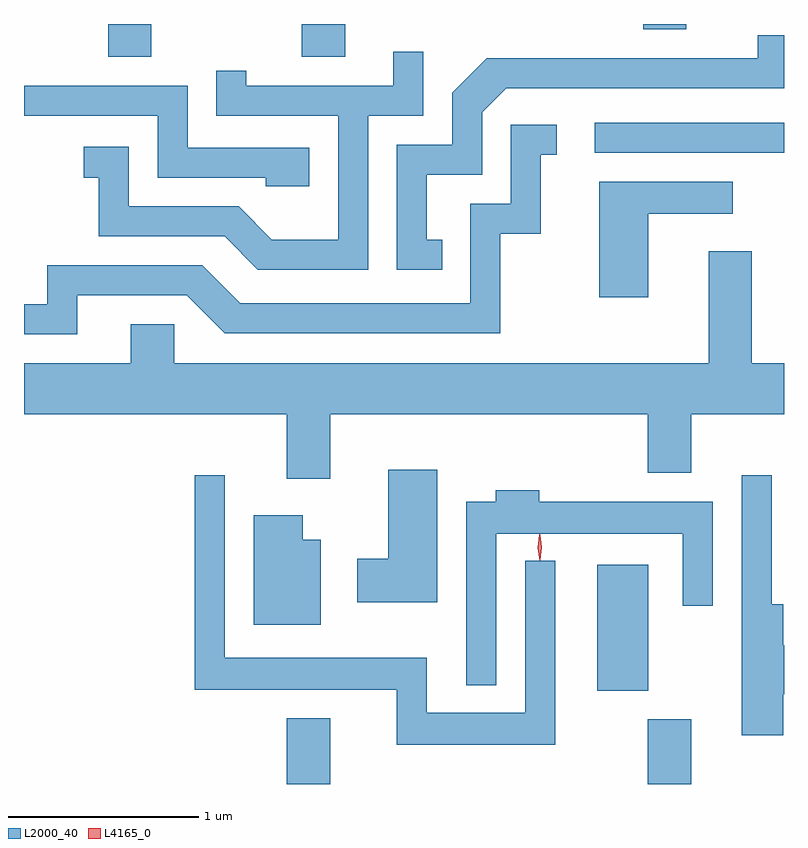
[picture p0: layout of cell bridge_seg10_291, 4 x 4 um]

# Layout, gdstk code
import gdstk
lib = gdstk.Library(unit=1e-6, precision=1e-09)
def R(c, l, rs):  # rectangles x0, y0, x1, y1
    for r in rs: c.add(gdstk.rectangle(r[:2], r[2:], *l))
def P(c, l, *ps):  # polygons
    for p in ps: c.add(gdstk.Polygon(p, *l))
L2000_40 = (2000, 40)
L4165_0 = (4165, 0)

bridge_seg10_291 = lib.new_cell('bridge_seg10_291')
R(bridge_seg10_291, L2000_40, [(1425.741,2158.589,1425.969,2158.934), (1427.641,2158.589,1427.869,2158.929), (1427.376,2159.081,1427.644,2159.744), (1427.363,2161.911,1428.358,2162.069), (1424.801,2162.416,1425.029,2162.589), (1425.821,2162.416,1426.049,2162.589), (1427.616,2162.561,1427.844,2162.589)])
P(bridge_seg10_291, L2000_40, [(1426.558,2161.454),(1426.479,2161.454),(1426.479,2161.796),(1426.769,2161.796),(1426.769,2162.124),(1426.897,2162.251),(1428.358,2162.251),(1428.358,2162.529),(1428.221,2162.529),(1428.221,2162.409),(1426.794,2162.409),(1426.611,2162.227),(1426.611,2161.954),(1426.321,2161.954),(1426.321,2161.296),(1426.558,2161.296)],
  [(1426.169,2162.106),(1426.459,2162.106),(1426.459,2162.443),(1426.301,2162.443),(1426.301,2162.264),(1425.529,2162.264),(1425.529,2162.343),(1425.371,2162.343),(1425.371,2162.106),(1426.011,2162.106),(1426.011,2161.454),(1425.662,2161.454),(1425.487,2161.629),(1424.909,2161.629),(1424.909,2161.944),(1424.673,2161.944),(1424.673,2161.781),(1424.751,2161.781),(1424.751,2161.471),(1425.414,2161.471),(1425.589,2161.296),(1426.169,2161.296)],
  [(1425.859,2161.939),(1425.219,2161.939),(1425.219,2162.264),(1424.358,2162.264),(1424.358,2162.106),(1425.061,2162.106),(1425.061,2161.781),(1425.631,2161.781),(1425.631,2161.736),(1425.859,2161.736)],
  [(1424.639,2161.161),(1425.214,2161.161),(1425.414,2160.961),(1426.864,2160.961),(1426.864,2161.486),(1427.079,2161.486),(1427.079,2161.901),(1427.163,2161.901),(1427.163,2162.059),(1426.921,2162.059),(1426.921,2161.644),(1426.706,2161.644),(1426.706,2161.119),(1425.497,2161.119),(1425.297,2161.319),(1424.481,2161.319),(1424.481,2161.114),(1424.358,2161.114),(1424.358,2160.956),(1424.639,2160.956)],
  [(1427.644,2161.591),(1428.088,2161.591),(1428.088,2161.759),(1427.386,2161.759),(1427.386,2161.151),(1427.644,2161.151)],
  [(1425.969,2160.536),(1427.641,2160.536),(1427.641,2160.226),(1427.869,2160.226),(1427.869,2160.536),(1428.358,2160.536),(1428.358,2160.804),(1428.189,2160.804),(1428.189,2161.394),(1427.961,2161.394),(1427.961,2160.804),(1425.149,2160.804),(1425.149,2161.009),(1424.921,2161.009),(1424.921,2160.804),(1424.358,2160.804),(1424.358,2160.536),(1425.741,2160.536),(1425.741,2160.196),(1425.969,2160.196)],
  [(1426.534,2160.244),(1426.276,2160.244),(1426.276,2159.774),(1426.111,2159.774),(1426.111,2159.546),(1426.534,2159.546)],
  [(1427.154,2159.763),(1426.996,2159.763),(1426.996,2158.964),(1426.479,2158.964),(1426.479,2159.254),(1425.414,2159.254),(1425.414,2160.213),(1425.256,2160.213),(1425.256,2159.086),(1426.321,2159.086),(1426.321,2158.796),(1427.154,2158.796)],
  [(1428.354,2159.061),(1428.358,2159.061),(1428.358,2159.319),(1428.354,2159.319),(1428.354,2159.534),(1428.294,2159.534),(1428.294,2160.213),(1428.136,2160.213),(1428.136,2158.846),(1428.354,2158.846)],
  [(1426.844,2159.906),(1427.826,2159.906),(1427.826,2159.528),(1427.984,2159.528),(1427.984,2160.074),(1427.069,2160.074),(1427.069,2160.134),(1426.841,2160.134),(1426.841,2160.074),(1426.686,2160.074),(1426.686,2159.108),(1426.844,2159.108)],
  [(1425.919,2159.874),(1425.824,2159.874),(1425.824,2160.004),(1425.566,2160.004),(1425.566,2159.426),(1425.919,2159.426)])
P(bridge_seg10_291, L4165_0, [(1427.073,2159.767),(1427.064,2159.834),(1427.073,2159.9),(1427.074,2159.901),(1427.074,2159.9),(1427.084,2159.834),(1427.074,2159.767),(1427.074,2159.767)],
  [(1427.072,2159.764),(1427.072,2159.764),(1427.062,2159.833),(1427.071,2159.902),(1427.072,2159.903),(1427.072,2159.902),(1427.082,2159.833),(1427.073,2159.764)])

lib.write_gds('bridge_seg10_291.gds')
